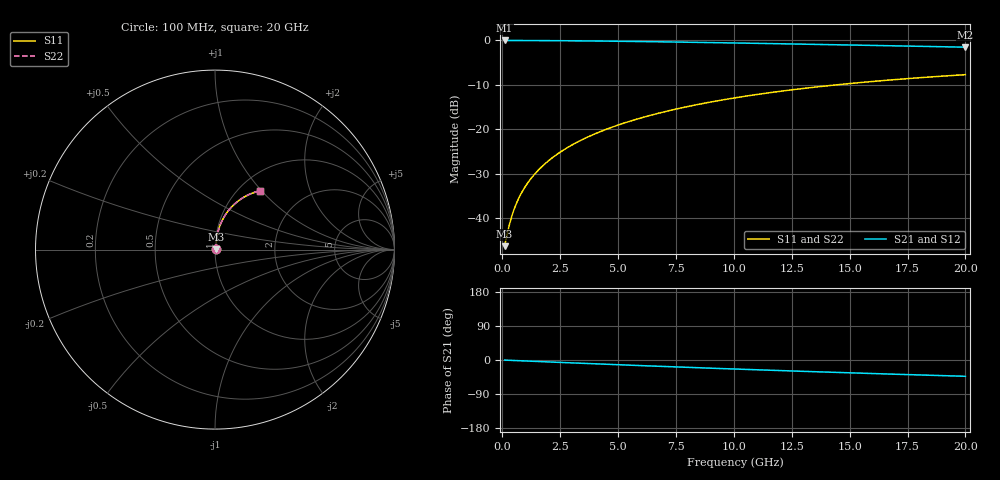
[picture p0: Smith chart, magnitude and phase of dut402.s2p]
! Touchstone file exported from HFSS 2024.1.0
!  File:  C:/UserFiles/LocalFiles/RDL_TSV_Batchsim/temp_RDL_bottom_402_1779682949.aedt
!  Generated:  12:25:13 PM May 25, 2026
!  Design:  RDL_bottom
!  Project:  temp_RDL_bottom_402_1779682949
!  Setup:  Setup1
!  Solution:  Sweep
! Variables:
!  dtsv = 10.80580581um
!  hbump = 3um
!  htsv = 50.74um
!  ldown = 612.19um
!  lrdl = 100um
!  p = 40
!  p1 = 44.45um
!  rhole = 1um
!  t = 450um
!  tdown = 2.95um
!  trdl = 3.915915916um
!  wdown = 17.96um
!  wrdl = 20um
# GHz S MA R 50.000000
! Terminal data exported
! Port[1] = RDL1_T1
! Port[2] = RDL1_T2
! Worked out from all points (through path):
!   200 points, 100 MHz to 20 GHz, reference 50 ohm
!   highest |S21| = -0.04 dB at 100 MHz (marker M1); lowest = -1.5 dB at 20 GHz (marker M2)
!   group delay of S21, straight-line fit = 5.95 ps
!   lowest |S11| = -46.2 dB at 100 MHz (marker M3), VSWR 1.01, Z = 50.4 + j0.242 ohm
!   |S11| at or under -10 dB: start of sweep to 14.43 GHz
!   |S22| runs from -46.2 to -7.7 dB; largest |S21 - S12| = 3.8e-15
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0.1  0.004891 29.3  0.9957 -0.3  0.9957 -0.3  0.004891 29.3
! Gamma 0 0 0 0
! Port Impedance 50 0 50 0
0.3  0.008392 57.1  0.9954 -0.8  0.9954 -0.8  0.008392 57.1
0.4  0.01043 63.0  0.9952 -1.1  0.9952 -1.1  0.01043 63.0
0.5  0.01249 66.8  0.995 -1.3  0.995 -1.3  0.01249 66.8
0.6  0.01457 69.6  0.9948 -1.6  0.9948 -1.6  0.01457 69.6
0.8  0.01876 73.3  0.9944 -2.1  0.9944 -2.1  0.01876 73.3
1  0.02298 75.7  0.994 -2.6  0.994 -2.6  0.02298 75.7
1.2  0.02724 77.4  0.9935 -3.1  0.9935 -3.1  0.02724 77.4
1.4  0.03153 78.5  0.993 -3.6  0.993 -3.6  0.03153 78.5
1.7  0.03802 79.7  0.9922 -4.4  0.9922 -4.4  0.03802 79.7
2.2  0.04894 80.8  0.9906 -5.6  0.9906 -5.6  0.04894 80.8
2.8  0.0622 81.2  0.9882 -7.1  0.9882 -7.1  0.0622 81.2
3.5  0.07784 81.1  0.9847 -8.9  0.9847 -8.9  0.07785 81.2
4.2  0.09364 80.7  0.9807 -10.6  0.9807 -10.6  0.09366 80.7
5  0.1118 79.8  0.9755 -12.5  0.9755 -12.5  0.1119 79.9
5.9  0.1324 78.6  0.969 -14.6  0.969 -14.6  0.1325 78.6
6.8  0.153 77.2  0.9619 -16.7  0.9619 -16.7  0.1531 77.3
8.4  0.1894 74.4  0.9483 -20.3  0.9483 -20.3  0.1895 74.5
10.1  0.2272 71.2  0.9328 -24.0  0.9328 -24.0  0.2273 71.3
13.4  0.2961 64.8  0.9012 -30.7  0.9012 -30.7  0.2963 64.9
16.7  0.3578 58.6  0.8689 -37.1  0.8689 -37.1  0.358 58.6
20  0.4114 52.7  0.837 -43.0  0.837 -43.0  0.4118 52.7
